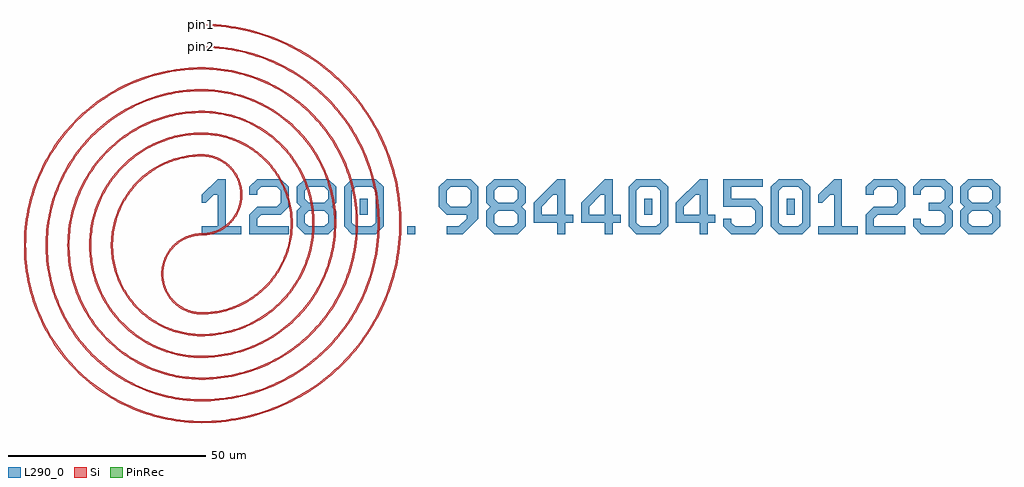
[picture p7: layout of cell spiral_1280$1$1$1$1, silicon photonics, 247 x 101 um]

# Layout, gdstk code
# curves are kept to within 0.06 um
import gdstk
lib = gdstk.Library(unit=1e-6, precision=1e-09)
def R(c, l, rs):  # rectangles x0, y0, x1, y1
    for r in rs: c.add(gdstk.rectangle(r[:2], r[2:], *l))
def P(c, l, *ps):  # polygons
    for p in ps: c.add(gdstk.Polygon(p, *l))
Si = (1, 0)
PinRec = (1, 10)
L290_0 = (290, 0)

spiral_1280_1_1_1_1 = lib.new_cell('spiral_1280$1$1$1$1')
P(spiral_1280_1_1_1_1, Si, [(0,-0.25),(0,0.25),(1.194,0.323),(2.369,0.542),(3.509,0.903),(4.384,1.291),(5.808,2.169),(7.061,3.277),(8.237,4.784),(9.097,6.491),(9.563,8.098),(9.75,10),(9.563,11.902),(9.097,13.509),(8.237,15.216),(7.061,16.723),(5.808,17.831),(4.384,18.709),(3.509,19.097),(2.369,19.458),(1.194,19.677),(0,19.75),(0,20.25),(1.005,20.201),(2,20.053),(2.975,19.809),(3.923,19.47),(5.695,18.523),(7.248,17.248),(8.523,15.695),(9.47,13.923),(9.809,12.975),(10.053,12),(10.201,11.005),(10.25,10),(10.201,8.995),(10.053,8),(9.809,7.025),(9.47,6.077),(8.523,4.305),(7.248,2.752),(5.695,1.477),(3.923,0.53),(2.975,0.191),(2,-0.053),(1.005,-0.201)],
  [(0,-20.25),(-1.005,-20.201),(-2,-20.053),(-3.923,-19.47),(-5.695,-18.523),(-7.248,-17.248),(-8.523,-15.695),(-9.47,-13.923),(-10.053,-12),(-10.201,-11.005),(-10.25,-10),(-10.201,-8.995),(-10.001,-7.754),(-9.371,-5.846),(-8.792,-4.73),(-8.233,-3.894),(-7.424,-2.932),(-6.695,-2.239),(-5.052,-1.082),(-4.154,-0.629),(-3.215,-0.267),(-1.504,0.139),(0.956,0.297),(2.136,0.487),(3.509,0.903),(4.806,1.517),(6.185,2.463),(7.537,3.815),(8.599,5.404),(9.258,6.942),(9.563,8.098),(9.724,9.283),(9.747,10.239),(9.644,11.431),(9.458,12.369),(9.097,13.509),(8.599,14.596),(7.971,15.614),(7.224,16.548),(6.548,17.224),(5.013,18.363),(3.951,18.914),(2.6,19.397),(1.194,19.677),(0,19.75),(0,20.25),(1.005,20.201),(2,20.053),(3.923,19.47),(5.695,18.523),(7.248,17.248),(8.523,15.695),(9.47,13.923),(10.053,12),(10.201,11.005),(10.25,10),(10.201,8.995),(10.001,7.754),(9.371,5.846),(8.792,4.73),(8.233,3.894),(7.424,2.932),(6.695,2.239),(5.052,1.082),(4.154,0.629),(3.215,0.267),(1.504,-0.139),(-0.956,-0.297),(-2.136,-0.487),(-3.509,-0.903),(-4.806,-1.517),(-6.185,-2.463),(-7.537,-3.815),(-8.599,-5.404),(-9.258,-6.942),(-9.563,-8.098),(-9.724,-9.283),(-9.747,-10.239),(-9.644,-11.431),(-9.458,-12.369),(-9.097,-13.509),(-8.599,-14.596),(-7.971,-15.614),(-7.224,-16.548),(-6.548,-17.224),(-5.013,-18.363),(-3.951,-18.914),(-2.6,-19.397),(-1.194,-19.677),(0,-19.75)],
  [(0,-20.25),(0,-19.75),(2.205,-19.642),(4.39,-19.318),(6.531,-18.781),(9.118,-17.82),(11.09,-16.827),(12.956,-15.646),(14.274,-14.643),(15.91,-13.16),(17.393,-11.524),(18.708,-9.75),(19.843,-7.856),(20.787,-5.86),(21.531,-3.781),(22.068,-1.64),(22.392,0.545),(22.5,2.75),(22.392,4.955),(22.068,7.14),(21.531,9.281),(20.787,11.36),(19.843,13.356),(18.708,15.25),(17.393,17.024),(15.91,18.66),(14.274,20.143),(12.956,21.146),(11.09,22.327),(9.118,23.32),(6.531,24.281),(4.39,24.818),(2.205,25.142),(0,25.25),(0,25.75),(2.254,25.639),(4.487,25.308),(6.677,24.76),(8.802,23.999),(10.842,23.034),(12.778,21.874),(14.591,20.529),(16.263,19.013),(17.779,17.341),(19.124,15.528),(20.284,13.592),(21.249,11.552),(22.01,9.427),(22.558,7.237),(22.889,5.004),(23,2.75),(22.889,0.496),(22.558,-1.737),(22.01,-3.927),(21.249,-6.052),(20.284,-8.092),(19.124,-10.028),(17.779,-11.841),(16.263,-13.513),(14.591,-15.029),(12.778,-16.374),(10.842,-17.534),(8.802,-18.499),(6.677,-19.26),(4.487,-19.808),(2.254,-20.139)],
  [(0,-25.75),(-2.254,-25.639),(-4.487,-25.308),(-6.677,-24.76),(-8.802,-23.999),(-10.842,-23.034),(-12.778,-21.874),(-14.591,-20.529),(-16.263,-19.013),(-17.779,-17.341),(-19.124,-15.528),(-20.284,-13.592),(-21.249,-11.552),(-22.01,-9.427),(-22.558,-7.237),(-22.889,-5.004),(-23,-2.75),(-22.889,-0.496),(-22.558,1.737),(-22.01,3.927),(-21.249,6.052),(-20.284,8.092),(-19.124,10.028),(-17.779,11.841),(-16.263,13.513),(-14.591,15.029),(-12.778,16.374),(-10.842,17.534),(-8.802,18.499),(-6.677,19.26),(-4.487,19.808),(-2.254,20.139),(0,20.25),(0,19.75),(-2.205,19.642),(-4.39,19.318),(-6.531,18.781),(-9.118,17.82),(-11.09,16.827),(-12.956,15.646),(-14.274,14.643),(-15.91,13.16),(-17.393,11.524),(-18.708,9.75),(-19.843,7.856),(-20.787,5.86),(-21.531,3.781),(-22.068,1.64),(-22.392,-0.545),(-22.5,-2.75),(-22.392,-4.955),(-22.068,-7.14),(-21.531,-9.281),(-20.787,-11.36),(-19.843,-13.356),(-18.708,-15.25),(-17.393,-17.024),(-15.91,-18.66),(-14.274,-20.143),(-12.956,-21.146),(-11.09,-22.327),(-9.118,-23.32),(-6.531,-24.281),(-4.39,-24.818),(-2.205,-25.142),(0,-25.25)],
  [(0,-25.75),(0,-25.25),(2.744,-25.115),(4.787,-24.838),(6.135,-24.57),(8.783,-23.837),(11.347,-22.848),(13.801,-21.612),(16.123,-20.142),(18.289,-18.452),(19.799,-17.049),(21.644,-15.013),(23.281,-12.806),(24.694,-10.449),(25.869,-7.965),(26.794,-5.378),(27.462,-2.713),(27.865,0.006),(28,2.75),(27.865,5.494),(27.462,8.213),(26.794,10.878),(25.869,13.465),(24.694,15.949),(23.281,18.306),(21.644,20.513),(19.799,22.549),(18.289,23.952),(16.123,25.642),(13.801,27.112),(11.347,28.348),(8.783,29.337),(6.135,30.07),(4.787,30.338),(2.744,30.615),(0,30.75),(0,31.25),(2.793,31.113),(5.56,30.702),(8.273,30.023),(10.906,29.081),(13.435,27.885),(15.834,26.447),(18.08,24.781),(20.153,22.903),(22.031,20.83),(23.697,18.584),(25.135,16.185),(26.331,13.656),(27.273,11.023),(27.952,8.31),(28.363,5.543),(28.5,2.75),(28.363,-0.043),(27.952,-2.81),(27.273,-5.523),(26.331,-8.156),(25.135,-10.685),(23.697,-13.084),(22.031,-15.33),(20.153,-17.403),(18.08,-19.281),(15.834,-20.947),(13.435,-22.385),(10.906,-23.581),(8.273,-24.523),(5.56,-25.202),(2.793,-25.613)],
  [(0,-31.25),(-2.793,-31.113),(-5.56,-30.702),(-8.273,-30.023),(-10.906,-29.081),(-13.435,-27.885),(-15.834,-26.447),(-18.08,-24.781),(-20.153,-22.903),(-22.031,-20.83),(-23.697,-18.584),(-25.135,-16.185),(-26.331,-13.656),(-27.273,-11.023),(-27.952,-8.31),(-28.363,-5.543),(-28.5,-2.75),(-28.363,0.043),(-27.952,2.81),(-27.273,5.523),(-26.331,8.156),(-25.135,10.685),(-23.697,13.084),(-22.031,15.33),(-20.153,17.403),(-18.08,19.281),(-15.834,20.947),(-13.435,22.385),(-10.906,23.581),(-8.273,24.523),(-5.56,25.202),(-2.793,25.613),(0,25.75),(0,25.25),(-2.744,25.115),(-4.787,24.838),(-6.135,24.57),(-8.783,23.837),(-11.347,22.848),(-13.801,21.612),(-16.123,20.142),(-18.289,18.452),(-19.799,17.049),(-21.644,15.013),(-23.281,12.806),(-24.694,10.449),(-25.869,7.965),(-26.794,5.378),(-27.462,2.713),(-27.865,-0.006),(-28,-2.75),(-27.865,-5.494),(-27.462,-8.213),(-26.794,-10.878),(-25.869,-13.465),(-24.694,-15.949),(-23.281,-18.306),(-21.644,-20.513),(-19.799,-22.549),(-18.289,-23.952),(-16.123,-25.642),(-13.801,-27.112),(-11.347,-28.348),(-8.783,-29.337),(-6.135,-30.07),(-4.787,-30.338),(-2.744,-30.615),(0,-30.75)],
  [(0,-31.25),(0,-30.75),(1.644,-30.71),(4.101,-30.498),(5.727,-30.257),(8.14,-29.746),(11.286,-28.792),(13.576,-27.876),(16.512,-26.398),(19.29,-24.639),(21.252,-23.146),(23.688,-20.938),(25.896,-18.502),(27.854,-15.862),(29.544,-13.042),(30.95,-10.07),(32.058,-6.975),(32.856,-3.786),(33.339,-0.534),(33.5,2.75),(33.339,6.034),(32.856,9.286),(32.058,12.475),(30.95,15.57),(29.544,18.542),(27.854,21.362),(25.896,24.002),(23.688,26.438),(21.252,28.646),(19.29,30.139),(16.512,31.898),(13.576,33.376),(11.286,34.292),(8.14,35.246),(5.727,35.757),(4.101,35.998),(1.644,36.21),(0,36.25),(0,36.75),(3.333,36.586),(6.633,36.097),(9.87,35.286),(13.011,34.162),(16.027,32.735),(18.889,31.02),(21.569,29.032),(24.042,26.792),(26.282,24.319),(28.27,21.639),(29.985,18.777),(31.412,15.761),(32.536,12.62),(33.347,9.383),(33.836,6.083),(34,2.75),(33.836,-0.583),(33.347,-3.883),(32.536,-7.12),(31.412,-10.261),(29.985,-13.277),(28.27,-16.139),(26.282,-18.819),(24.042,-21.292),(21.569,-23.532),(18.889,-25.52),(16.027,-27.235),(13.011,-28.662),(9.87,-29.786),(6.633,-30.597),(3.333,-31.086)],
  [(0,-36.75),(-3.333,-36.586),(-6.633,-36.097),(-9.87,-35.286),(-13.011,-34.162),(-16.027,-32.735),(-18.889,-31.02),(-21.569,-29.032),(-24.042,-26.792),(-26.282,-24.319),(-28.27,-21.639),(-29.985,-18.777),(-31.412,-15.761),(-32.536,-12.62),(-33.347,-9.383),(-33.836,-6.083),(-34,-2.75),(-33.836,0.583),(-33.347,3.883),(-32.536,7.12),(-31.412,10.261),(-29.985,13.277),(-28.27,16.139),(-26.282,18.819),(-24.042,21.292),(-21.569,23.532),(-18.889,25.52),(-16.027,27.235),(-13.011,28.662),(-9.87,29.786),(-6.633,30.597),(-3.333,31.086),(0,31.25),(0,30.75),(-1.644,30.71),(-4.101,30.498),(-5.727,30.257),(-8.14,29.746),(-11.286,28.792),(-13.576,27.876),(-16.512,26.398),(-19.29,24.639),(-21.252,23.146),(-23.688,20.938),(-25.896,18.502),(-27.854,15.862),(-29.544,13.042),(-30.95,10.07),(-32.058,6.975),(-32.856,3.786),(-33.339,0.534),(-33.5,-2.75),(-33.339,-6.034),(-32.856,-9.286),(-32.058,-12.475),(-30.95,-15.57),(-29.544,-18.542),(-27.854,-21.362),(-25.896,-24.002),(-23.688,-26.438),(-21.252,-28.646),(-19.29,-30.139),(-16.512,-31.898),(-13.576,-33.376),(-11.286,-34.292),(-8.14,-35.246),(-5.727,-35.757),(-4.101,-35.998),(-1.644,-36.21),(0,-36.25)],
  [(0,-36.75),(0,-36.25),(1.914,-36.203),(4.774,-35.957),(7.609,-35.501),(9.476,-35.081),(12.234,-34.282),(15.804,-32.904),(19.223,-31.183),(22.457,-29.136),(25.474,-26.781),(27.577,-24.827),(30.147,-21.991),(32.427,-18.917),(34.395,-15.634),(36.031,-12.175),(37.321,-8.571),(38.251,-4.859),(38.812,-1.073),(39,2.75),(38.812,6.573),(38.251,10.359),(37.321,14.071),(36.031,17.675),(34.395,21.134),(32.427,24.417),(30.147,27.491),(27.577,30.327),(25.474,32.281),(22.457,34.636),(19.223,36.683),(15.804,38.404),(12.234,39.782),(9.476,40.581),(7.609,41.001),(4.774,41.457),(1.914,41.703),(0,41.75),(0,42.25),(3.872,42.06),(7.706,41.491),(11.466,40.549),(15.116,39.243),(18.62,37.586),(21.945,35.593),(25.059,33.284),(27.931,30.681),(30.534,27.809),(32.843,24.695),(34.836,21.37),(36.493,17.866),(37.799,14.216),(38.741,10.456),(39.31,6.622),(39.5,2.75),(39.31,-1.122),(38.741,-4.956),(37.799,-8.716),(36.493,-12.366),(34.836,-15.87),(32.843,-19.195),(30.534,-22.309),(27.931,-25.181),(25.059,-27.784),(21.945,-30.093),(18.62,-32.086),(15.116,-33.743),(11.466,-35.049),(7.706,-35.991),(3.872,-36.56)],
  [(0,-42.25),(-3.872,-42.06),(-7.706,-41.491),(-11.466,-40.549),(-15.116,-39.243),(-18.62,-37.586),(-21.945,-35.593),(-25.059,-33.284),(-27.931,-30.681),(-30.534,-27.809),(-32.843,-24.695),(-34.836,-21.37),(-36.493,-17.866),(-37.799,-14.216),(-38.741,-10.456),(-39.31,-6.622),(-39.5,-2.75),(-39.31,1.122),(-38.741,4.956),(-37.799,8.716),(-36.493,12.366),(-34.836,15.87),(-32.843,19.195),(-30.534,22.309),(-27.931,25.181),(-25.059,27.784),(-21.945,30.093),(-18.62,32.086),(-15.116,33.743),(-11.466,35.049),(-7.706,35.991),(-3.872,36.56),(0,36.75),(0,36.25),(-1.914,36.203),(-4.774,35.957),(-7.609,35.501),(-9.476,35.081),(-12.234,34.282),(-15.804,32.904),(-19.223,31.183),(-22.457,29.136),(-25.474,26.781),(-27.577,24.827),(-30.147,21.991),(-32.427,18.917),(-34.395,15.634),(-36.031,12.175),(-37.321,8.571),(-38.251,4.859),(-38.812,1.073),(-39,-2.75),(-38.812,-6.573),(-38.251,-10.359),(-37.321,-14.071),(-36.031,-17.675),(-34.395,-21.134),(-32.427,-24.417),(-30.147,-27.491),(-27.577,-30.327),(-25.474,-32.281),(-22.457,-34.636),(-19.223,-36.683),(-15.804,-38.404),(-12.234,-39.782),(-9.476,-40.581),(-7.609,-41.001),(-4.774,-41.457),(-1.914,-41.703),(0,-41.75)],
  [(0,-42.25),(0,-41.75),(3.274,-41.629),(5.447,-41.415),(7.608,-41.095),(10.813,-40.416),(12.918,-39.834),(14.992,-39.149),(18.033,-37.932),(20.008,-36.998),(21.934,-35.969),(23.807,-34.846),(25.623,-33.633),(28.231,-31.649),(29.884,-30.222),(31.466,-28.716),(32.972,-27.134),(34.399,-25.481),(35.743,-23.759),(37,-21.973),(38.169,-20.128),(39.245,-18.227),(40.228,-16.276),(41.113,-14.279),(41.899,-12.242),(42.584,-10.168),(43.166,-8.063),(43.645,-5.932),(44.018,-3.78),(44.286,-1.612),(44.446,0.566),(44.5,2.75),(44.446,4.934),(44.286,7.112),(44.018,9.28),(43.645,11.432),(43.166,13.563),(42.584,15.668),(41.899,17.742),(41.113,19.779),(40.228,21.776),(39.245,23.727),(38.169,25.628),(37,27.473),(35.743,29.259),(34.399,30.981),(32.972,32.634),(31.466,34.216),(29.884,35.722),(28.231,37.149),(25.623,39.133),(23.807,40.346),(21.934,41.469),(20.008,42.498),(18.033,43.432),(14.992,44.649),(12.918,45.334),(10.813,45.916),(7.608,46.595),(5.447,46.915),(3.274,47.129),(0,47.25),(0,47.75),(2.208,47.696),(4.411,47.533),(6.603,47.263),(8.779,46.885),(10.934,46.401),(13.063,45.812),(15.16,45.119),(17.221,44.325),(19.24,43.43),(21.213,42.436),(23.135,41.348),(25.001,40.166),(26.806,38.894),(28.548,37.535),(30.22,36.093),(31.82,34.57),(33.343,32.97),(34.785,31.298),(36.144,29.556),(37.416,27.751),(38.598,25.885),(39.686,23.963),(40.68,21.99),(41.575,19.971),(42.369,17.91),(43.062,15.813),(43.651,13.684),(44.135,11.529),(44.513,9.353),(44.783,7.161),(44.946,4.958),(45,2.75),(44.946,0.542),(44.783,-1.661),(44.513,-3.853),(44.135,-6.029),(43.651,-8.184),(43.062,-10.313),(42.369,-12.41),(41.575,-14.471),(40.68,-16.49),(39.686,-18.463),(38.598,-20.385),(37.416,-22.251),(36.144,-24.056),(34.785,-25.798),(33.343,-27.47),(31.82,-29.07),(30.22,-30.593),(28.548,-32.035),(26.806,-33.394),(25.001,-34.666),(23.135,-35.848),(21.213,-36.936),(19.24,-37.93),(17.221,-38.825),(15.16,-39.619),(13.063,-40.312),(10.934,-40.901),(8.779,-41.385),(6.603,-41.763),(4.411,-42.033),(2.208,-42.196)],
  [(0,-47.75),(-2.208,-47.696),(-4.411,-47.533),(-6.603,-47.263),(-8.779,-46.885),(-10.934,-46.401),(-13.063,-45.812),(-15.16,-45.119),(-17.221,-44.325),(-19.24,-43.43),(-21.213,-42.436),(-23.135,-41.348),(-25.001,-40.166),(-26.806,-38.894),(-28.548,-37.535),(-30.22,-36.093),(-31.82,-34.57),(-33.343,-32.97),(-34.785,-31.298),(-36.144,-29.556),(-37.416,-27.751),(-38.598,-25.885),(-39.686,-23.963),(-40.68,-21.99),(-41.575,-19.971),(-42.369,-17.91),(-43.062,-15.813),(-43.651,-13.684),(-44.135,-11.529),(-44.513,-9.353),(-44.783,-7.161),(-44.946,-4.958),(-45,-2.75),(-44.946,-0.542),(-44.783,1.661),(-44.513,3.853),(-44.135,6.029),(-43.651,8.184),(-43.062,10.313),(-42.369,12.41),(-41.575,14.471),(-40.68,16.49),(-39.686,18.463),(-38.598,20.385),(-37.416,22.251),(-36.144,24.056),(-34.785,25.798),(-33.343,27.47),(-31.82,29.07),(-30.22,30.593),(-28.548,32.035),(-26.806,33.394),(-25.001,34.666),(-23.135,35.848),(-21.213,36.936),(-19.24,37.93),(-17.221,38.825),(-15.16,39.619),(-13.063,40.312),(-10.934,40.901),(-8.779,41.385),(-6.603,41.763),(-4.411,42.033),(-2.208,42.196),(0,42.25),(0,41.75),(-3.274,41.629),(-5.447,41.415),(-7.608,41.095),(-10.813,40.416),(-12.918,39.834),(-14.992,39.149),(-18.033,37.932),(-20.008,36.998),(-21.934,35.969),(-23.807,34.846),(-25.623,33.633),(-28.231,31.649),(-29.884,30.222),(-31.466,28.716),(-32.972,27.134),(-34.399,25.481),(-35.743,23.759),(-37,21.973),(-38.169,20.128),(-39.245,18.227),(-40.228,16.276),(-41.113,14.279),(-41.899,12.242),(-42.584,10.168),(-43.166,8.063),(-43.645,5.932),(-44.018,3.78),(-44.286,1.612),(-44.446,-0.566),(-44.5,-2.75),(-44.446,-4.934),(-44.286,-7.112),(-44.018,-9.28),(-43.645,-11.432),(-43.166,-13.563),(-42.584,-15.668),(-41.899,-17.742),(-41.113,-19.779),(-40.228,-21.776),(-39.245,-23.727),(-38.169,-25.628),(-37,-27.473),(-35.743,-29.259),(-34.399,-30.981),(-32.972,-32.634),(-31.466,-34.216),(-29.884,-35.722),(-28.231,-37.149),(-25.623,-39.133),(-23.807,-40.346),(-21.934,-41.469),(-20.008,-42.498),(-18.033,-43.432),(-14.992,-44.649),(-12.918,-45.334),(-10.813,-45.916),(-7.608,-46.595),(-5.447,-46.915),(-3.274,-47.129),(0,-47.25)],
  [(0,-47.75),(0,-47.25),(3.678,-47.115),(6.121,-46.874),(8.548,-46.514),(10.955,-46.035),(14.514,-45.097),(16.844,-44.327),(19.134,-43.444),(21.378,-42.449),(23.57,-41.346),(25.705,-40.136),(27.779,-38.823),(29.785,-37.41),(31.72,-35.901),(33.578,-34.298),(35.355,-32.605),(37.048,-30.828),(38.651,-28.97),(40.16,-27.035),(41.573,-25.029),(42.886,-22.955),(44.096,-20.82),(45.199,-18.628),(46.194,-16.384),(47.077,-14.094),(47.847,-11.764),(48.502,-9.399),(49.039,-7.005),(49.459,-4.587),(49.759,-2.151),(49.94,0.297),(50,2.75),(49.94,5.203),(49.759,7.651),(49.459,10.087),(49.039,12.505),(48.502,14.899),(47.847,17.264),(47.077,19.594),(46.194,21.884),(45.199,24.128),(44.096,26.32),(42.886,28.455),(41.573,30.529),(40.16,32.535),(38.651,34.47),(37.048,36.328),(35.355,38.105),(33.578,39.798),(31.72,41.401),(29.785,42.91),(27.779,44.323),(25.705,45.636),(23.57,46.846),(21.378,47.949),(19.134,48.944),(16.844,49.827),(14.514,50.597),(10.955,51.535),(8.548,52.014),(6.121,52.374),(3.678,52.615),(0,52.75),(0,53.25),(2.478,53.189),(4.95,53.007),(7.41,52.703),(9.852,52.28),(12.27,51.737),(14.659,51.075),(17.013,50.298),(19.326,49.406),(21.592,48.401),(23.806,47.287),(25.962,46.065),(28.056,44.739),(30.083,43.312),(32.037,41.787),(33.914,40.168),(35.709,38.459),(37.418,36.664),(39.037,34.787),(40.562,32.833),(41.989,30.806),(43.315,28.712),(44.537,26.556),(45.651,24.342),(46.656,22.076),(47.548,19.763),(48.325,17.409),(48.987,15.02),(49.53,12.602),(49.953,10.16),(50.257,7.7),(50.439,5.228),(50.5,2.75),(50.439,0.272),(50.257,-2.2),(49.953,-4.66),(49.53,-7.102),(48.987,-9.52),(48.325,-11.909),(47.548,-14.263),(46.656,-16.576),(45.651,-18.842),(44.537,-21.056),(43.315,-23.212),(41.989,-25.306),(40.562,-27.333),(39.037,-29.287),(37.418,-31.164),(35.709,-32.959),(33.914,-34.668),(32.037,-36.287),(30.083,-37.812),(28.056,-39.239),(25.962,-40.565),(23.806,-41.787),(21.592,-42.901),(19.326,-43.906),(17.013,-44.798),(14.659,-45.575),(12.27,-46.237),(9.852,-46.78),(7.41,-47.203),(4.95,-47.507),(2.478,-47.689)])
R(spiral_1280_1_1_1_1, L290_0, [(52,0,54,2), (40,5,42,9), (112,5,114,9), (148,5,150,9)])
P(spiral_1280_1_1_1_1, L290_0, [(0,0),(0,2),(4,2),(4,10),(3,10),(1,8),(0,8),(0,10),(4,14),(6,14),(6,2),(10,2),(10,0)],
  [(12,0),(12,5),(14,7),(19,7),(20,8),(20,11),(19,12),(15,12),(14,11),(14,10),(12,10),(12,12),(14,14),(20,14),(22,12),(22,7),(20,5),(15,5),(14,4),(14,2),(22,2),(22,0)],
  [(26,0),(24,2),(24,6),(25,7),(24,8),(24,12),(26,14),(32,14),(34,12),(27,12),(26,11),(26,9),(27,8),(31,8),(32,9),(32,11),(31,12),(34,12),(34,8),(33,7),(34,6),(27,6),(26,5),(26,3),(27,2),(31,2),(32,3),(32,5),(31,6),(34,6),(34,2),(32,0)],
  [(38,0),(36,2),(36,12),(38,14),(44,14),(46,12),(39,12),(38,11),(38,3),(39,2),(43,2),(44,3),(44,11),(43,12),(46,12),(46,2),(44,0)],
  [(62,0),(62,2),(65,2),(67,4),(67,5),(62,5),(60,7),(67,7),(68,8),(68,11),(67,12),(63,12),(62,11),(62,8),(63,7),(60,7),(60,12),(62,14),(68,14),(70,12),(70,4),(66,0)],
  [(74,0),(72,2),(72,6),(73,7),(72,8),(72,12),(74,14),(80,14),(82,12),(75,12),(74,11),(74,9),(75,8),(79,8),(80,9),(80,11),(79,12),(82,12),(82,8),(81,7),(82,6),(75,6),(74,5),(74,3),(75,2),(79,2),(80,3),(80,5),(79,6),(82,6),(82,2),(80,0)],
  [(90,0),(90,3),(84,3),(84,5),(90,5),(90,10),(89,10),(86,7),(86,5),(84,5),(84,8),(90,14),(92,14),(92,5),(94,5),(94,3),(92,3),(92,0)],
  [(102,0),(102,3),(96,3),(96,5),(102,5),(102,10),(101,10),(98,7),(98,5),(96,5),(96,8),(102,14),(104,14),(104,5),(106,5),(106,3),(104,3),(104,0)],
  [(110,0),(108,2),(108,12),(110,14),(116,14),(118,12),(111,12),(110,11),(110,3),(111,2),(115,2),(116,3),(116,11),(115,12),(118,12),(118,2),(116,0)],
  [(126,0),(126,3),(120,3),(120,5),(126,5),(126,10),(125,10),(122,7),(122,5),(120,5),(120,8),(126,14),(128,14),(128,5),(130,5),(130,3),(128,3),(128,0)],
  [(134,0),(132,2),(132,4),(134,4),(134,3),(135,2),(139,2),(140,3),(140,6),(139,7),(132,7),(132,14),(142,14),(142,12),(134,12),(134,9),(140,9),(142,7),(142,2),(140,0)],
  [(146,0),(144,2),(144,12),(146,14),(152,14),(154,12),(147,12),(146,11),(146,3),(147,2),(151,2),(152,3),(152,11),(151,12),(154,12),(154,2),(152,0)],
  [(156,0),(156,2),(160,2),(160,10),(159,10),(157,8),(156,8),(156,10),(160,14),(162,14),(162,2),(166,2),(166,0)],
  [(168,0),(168,5),(170,7),(175,7),(176,8),(176,11),(175,12),(171,12),(170,11),(170,10),(168,10),(168,12),(170,14),(176,14),(178,12),(178,7),(176,5),(171,5),(170,4),(170,2),(178,2),(178,0)],
  [(182,0),(180,2),(180,4),(182,4),(182,3),(183,2),(187,2),(188,3),(188,5),(187,6),(184,6),(184,8),(187,8),(188,9),(188,11),(187,12),(183,12),(182,11),(182,10),(180,10),(180,12),(182,14),(188,14),(190,12),(190,8),(189,7),(190,6),(190,2),(188,0)],
  [(194,0),(192,2),(192,6),(193,7),(192,8),(192,12),(194,14),(200,14),(202,12),(195,12),(194,11),(194,9),(195,8),(199,8),(200,9),(200,11),(199,12),(202,12),(202,8),(201,7),(202,6),(195,6),(194,5),(194,3),(195,2),(199,2),(200,3),(200,5),(199,6),(202,6),(202,2),(200,0)])
spiral_1280_1_1_1_1.add(gdstk.FlexPath([(0.05,53),(-0.05,53)], 0.5, ends="flush", simple_path=True, layer=1, datatype=10))  # PinRec
spiral_1280_1_1_1_1.add(gdstk.FlexPath([(0.05,47.5),(-0.05,47.5)], 0.5, ends="flush", simple_path=True, layer=1, datatype=10))  # PinRec
spiral_1280_1_1_1_1.add(gdstk.Label('pin1', (0,53), layer=1, texttype=10))
spiral_1280_1_1_1_1.add(gdstk.Label('pin2', (0,47.5), layer=1, texttype=10))

lib.write_gds('spiral_1280_1_1_1_1.gds')
